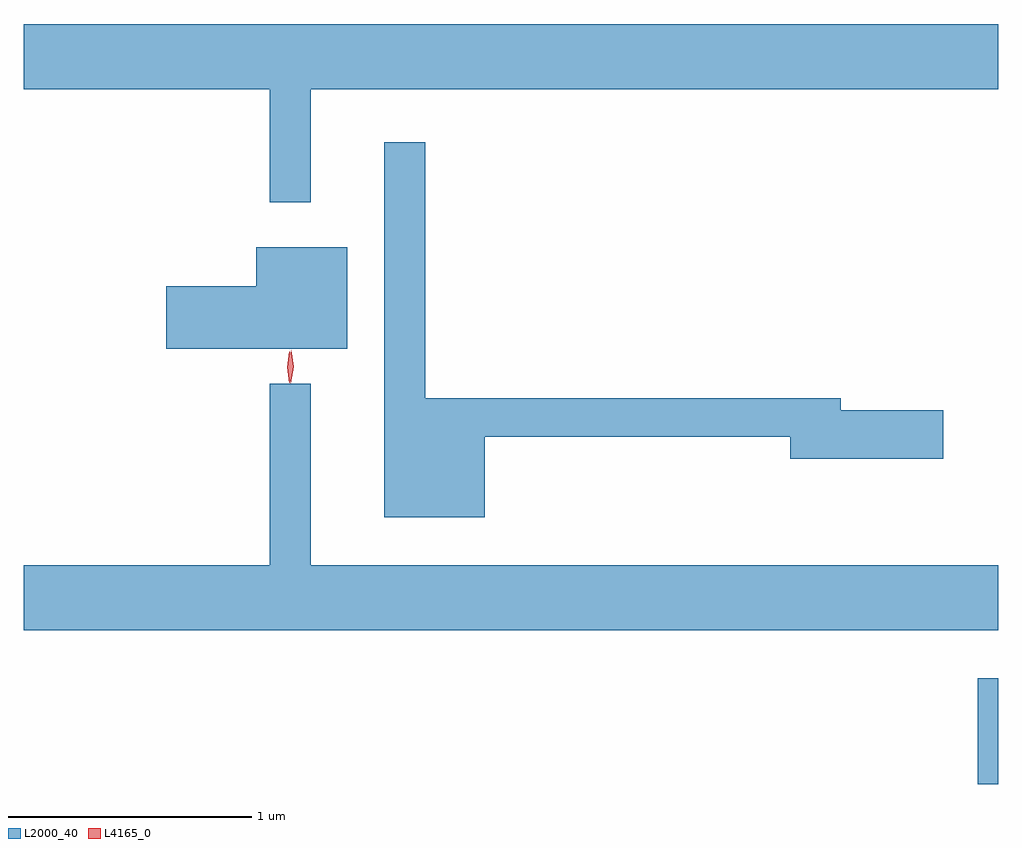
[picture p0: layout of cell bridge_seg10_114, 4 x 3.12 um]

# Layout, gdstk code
import gdstk
lib = gdstk.Library(unit=1e-6, precision=1e-09)
def R(c, l, rs):  # rectangles x0, y0, x1, y1
    for r in rs: c.add(gdstk.rectangle(r[:2], r[2:], *l))
def P(c, l, *ps):  # polygons
    for p in ps: c.add(gdstk.Polygon(p, *l))
L2000_40 = (2000, 40)
L4165_0 = (4165, 0)

bridge_seg10_114 = lib.new_cell('bridge_seg10_114')
R(bridge_seg10_114, L2000_40, [(1569.126,2095.526,1569.211,2095.959)])
P(bridge_seg10_114, L2000_40, [(1566.389,2098.376),(1569.211,2098.376),(1569.211,2098.644),(1565.211,2098.644),(1565.211,2098.376),(1566.221,2098.376),(1566.221,2097.913),(1566.389,2097.913)],
  [(1567.104,2096.951),(1568.356,2096.951),(1568.356,2096.861),(1568.984,2096.861),(1568.984,2097.059),(1568.564,2097.059),(1568.564,2097.109),(1566.859,2097.109),(1566.859,2098.158),(1566.691,2098.158),(1566.691,2096.621),(1567.104,2096.621)],
  [(1566.539,2097.729),(1566.166,2097.729),(1566.166,2097.569),(1565.796,2097.569),(1565.796,2097.311),(1566.539,2097.311)],
  [(1569.211,2096.424),(1566.389,2096.424),(1566.389,2097.168),(1566.221,2097.168),(1566.221,2096.424),(1565.211,2096.424),(1565.211,2096.156),(1569.211,2096.156)])
P(bridge_seg10_114, L4165_0, [(1566.302,2097.173),(1566.293,2097.236),(1566.302,2097.3),(1566.303,2097.3),(1566.303,2097.3),(1566.313,2097.236),(1566.303,2097.173),(1566.303,2097.173)],
  [(1566.308,2097.17),(1566.308,2097.17),(1566.299,2097.238),(1566.309,2097.305),(1566.31,2097.306),(1566.31,2097.305),(1566.319,2097.238),(1566.308,2097.17)])

lib.write_gds('bridge_seg10_114.gds')
